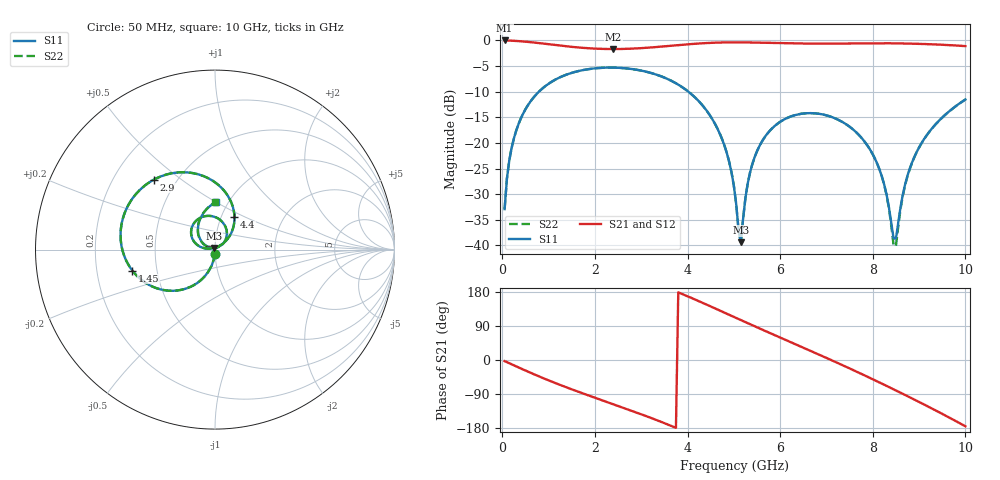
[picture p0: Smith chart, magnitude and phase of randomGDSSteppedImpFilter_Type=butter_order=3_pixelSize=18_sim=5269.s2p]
! freq	dB(S11)	phase(S11)	dB(S12)	phase(S12)
!  dB(S21)	phase(S21)	dB(S22)	phase(S22)
!S-par simulation data
#  GHz  S  DB  R 50
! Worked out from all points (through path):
!   200 points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, 50 MHz to 10 GHz, reference 50 ohm
!   highest |S21| = -0.01 dB at 50 MHz (marker M1); lowest = -1.7 dB at 2.4 GHz (marker M2)
!   group delay of S21, straight-line fit = 146 ps
!   lowest |S11| = -39.4 dB at 5.15 GHz (marker M3), VSWR 1.02, Z = 49.5 + j0.929 ohm
!   |S11| at or under -10 dB: start of sweep to 790.9 MHz; 4.019 GHz to end of sweep
!   |S22| runs from -40.1 to -5.3 dB; largest |S21 - S12| = 0
!   S11 on the Smith chart (normalised r, x): 50 MHz: 1.00, -0.05; 1.45 GHz: 0.36, -0.11; 2.9 GHz: 0.38, +0.40; 4.4 GHz: 1.16, +0.44; 10 GHz: 0.88, +0.50
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0.05  -32.92 -92.8  -0.01 -2.9  -0.01 -2.9  -32.92 -92.8
0.2  -21.02 -101.7  -0.05 -11.3  -0.05 -11.3  -21.02 -101.7
0.45  -14.28 -115.6  -0.20 -25.1  -0.20 -25.1  -14.28 -115.6
1.45  -6.47 -165.7  -1.21 -75.1  -1.21 -75.1  -6.47 -165.7
1.75  -5.78 -179.1  -1.46 -88.6  -1.46 -88.6  -5.78 -179.1
2.4  -5.30 152.9  -1.68 -116.7  -1.68 -116.7  -5.31 152.9
2.9  -5.72 131.1  -1.56 -138.6  -1.56 -138.6  -5.72 131.1
3.4  -6.90 108.3  -1.24 -161.7  -1.24 -161.7  -6.90 108.3
4.4  -13.55 58.9  -0.52 146.8  -0.52 146.8  -13.55 58.9
4.8  -20.59 40.6  -0.39 124.8  -0.39 124.8  -20.59 40.5
5.05  -31.87 44.0  -0.37 111.0  -0.37 111.0  -31.86 43.8
5.15  -39.39 119.0  -0.38 105.5  -0.38 105.5  -39.44 118.8
5.3  -27.89 172.6  -0.39 97.2  -0.39 97.2  -27.90 172.6
5.6  -19.82 165.2  -0.45 80.8  -0.45 80.8  -19.82 165.2
6.7  -14.19 110.0  -0.63 21.7  -0.63 21.7  -14.19 109.8
7.8  -19.48 51.9  -0.56 -39.3  -0.56 -39.3  -19.48 51.2
8.15  -25.29 37.1  -0.55 -59.6  -0.55 -59.6  -25.32 35.4
8.35  -32.59 41.2  -0.56 -71.4  -0.56 -71.4  -32.83 37.0
8.5  -38.65 115.7  -0.58 -80.3  -0.58 -80.3  -40.14 118.6
8.7  -28.02 157.2  -0.60 -92.4  -0.60 -92.4  -28.18 160.1
8.95  -21.73 150.2  -0.66 -107.7  -0.66 -107.7  -21.78 151.7
10  -11.53 89.0  -1.11 -175.0  -1.11 -175.0  -11.54 89.4
